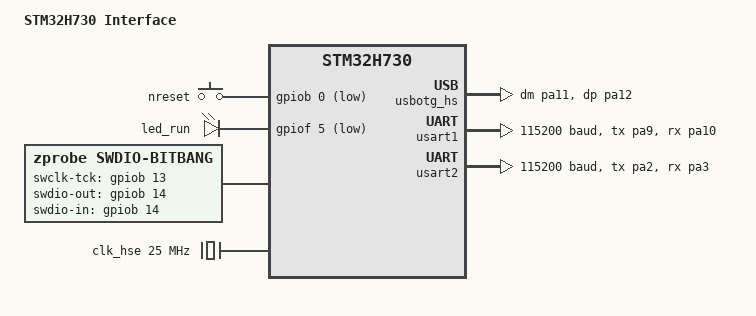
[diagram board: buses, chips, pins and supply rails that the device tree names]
/*
 * Copyright (c) 2023 XiNGRZ
 * SPDX-License-Identifier: Apache-2.0
 */

/dts-v1/;
#include <st/h7/stm32h730Xb.dtsi>
#include <st/h7/stm32h730ibkxq-pinctrl.dtsi>
#include <dt-bindings/zprobe/hic.h>
#include <dt-bindings/zprobe/target.h>

/ {
	model = "STM32H730 Interface";
	compatible = "zprobe,stm32h730_if", "st,stm32h730";

	chosen {
		zephyr,sram = &sram0;
		zephyr,dtcm = &dtcm;
		zephyr,itcm = &itcm;
		zephyr,flash = &flash0;
		zephyr,console = &usart1;
		zprobe,swdio = &swdio;
		zprobe,board = &board;
	};

	aliases {
		nreset = &nreset;
		led-run = &led_run;
	};

	keys {
		compatible = "gpio-keys";

		nreset: nreset {
			gpios = <&gpiob 0 (GPIO_ACTIVE_LOW | GPIO_PULL_UP)>;
		};
	};

	leds {
		compatible = "gpio-leds";

		led_run: led_run {
			gpios = <&gpiof 5 GPIO_ACTIVE_LOW>;
		};
	};

	board: board {
		compatible = "zprobe,board";
		board-id = "0000";
		board-vendor = "Zprobe";
		board-name = "STM32H730";
		hic-id = <HIC_ID_STM32F723IE>;
		family-id = <FAMILY_ID_STUB_HWRESET>;
	};
};

&clk_hse {
	clock-frequency = <DT_FREQ_M(25)>;
	status = "okay";
};

&clk_hsi48 {
	status = "okay";
};

&clk_lse {
	status = "okay";
};

&clk_lsi {
	status = "okay";
};

&pll {
	div-m = <10>;
	mul-n = <220>;
	div-p = <1>;
	div-q = <2>;
	div-r = <2>;
	clocks = <&clk_hse>;
	status = "okay";
};

&rcc {
	clocks = <&pll>;
	clock-frequency = <DT_FREQ_M(550)>;
	d1cpre = <1>;
	hpre = <2>;
	d1ppre = <2>;
	d2ppre1 = <2>;
	d2ppre2 = <2>;
	d3ppre = <2>;
};

&usbotg_hs {
	pinctrl-0 = <&usb_otg_hs_dm_pa11 &usb_otg_hs_dp_pa12>;
	pinctrl-names = "default";
	status = "okay";
	maximum-speed = "high-speed";

	cdc0: cdc_acm_uart-0 {
		compatible = "zephyr,cdc-acm-uart";
	};
};

&usart1 {
	pinctrl-0 = <&usart1_tx_pa9 &usart1_rx_pa10>;
	pinctrl-names = "default";
	status = "okay";
	current-speed = <115200>;
};

&usart2 {
	pinctrl-0 = <&usart2_tx_pa2 &usart2_rx_pa3>;
	pinctrl-names = "default";
	status = "okay";
	current-speed = <115200>;
};

/ {
	usb_cdc_acm-0 {
		compatible = "zprobe,usb-cdc-acm";
		peer-0 = <&cdc0>;
		peer-1 = <&usart2>;
	};
};

/ {
	swdio: swdio {
		compatible = "zprobe,swdio-bitbang";
		swclk-tck-gpios = <&gpiob 13 GPIO_PULL_UP>;
		swdio-out-gpios = <&gpiob 14 GPIO_PULL_UP>;
		swdio-in-gpios = <&gpiob 14 GPIO_PULL_UP>;
	};
};
